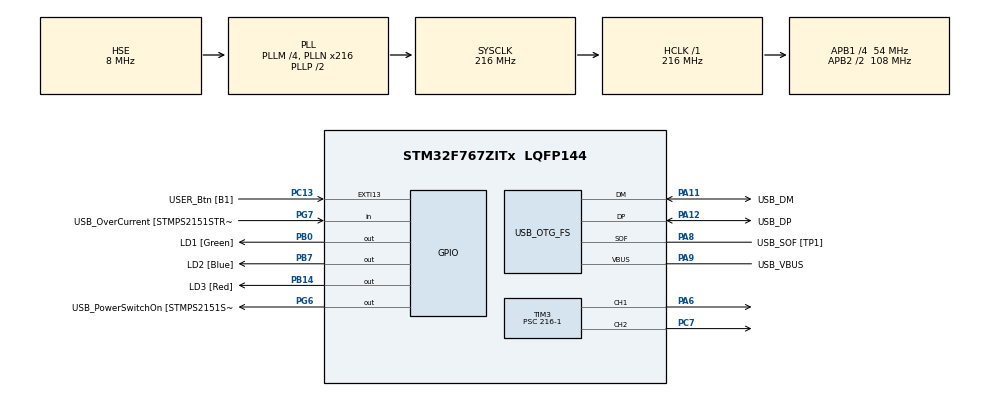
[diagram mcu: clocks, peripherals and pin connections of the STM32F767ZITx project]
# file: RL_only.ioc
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FREERTOS.Tasks01=defaultTask,0,128,StartDefaultTask,Default,NULL,Dynamic,NULL,NULL;taskRLControl,0,256,StartTask02,Default,NULL,Dynamic,NULL,NULL
Mcu.Family=STM32F7
Mcu.Name=STM32F767ZITx
Mcu.Package=LQFP144
NVIC.PriorityGroup=NVIC_PRIORITYGROUP_4
PA1.GPIO_Label=RMII_REF_CLK [LAN8742A-CZ-TR_REFCLK0]
PA1.Signal=ETH_REF_CLK
PA10.GPIO_Label=USB_ID
PA10.Signal=USB_OTG_FS_ID
PA11.GPIO_Label=USB_DM
PA11.Mode=Device_Only
PA11.Signal=USB_OTG_FS_DM
PA12.GPIO_Label=USB_DP
PA12.Mode=Device_Only
PA12.Signal=USB_OTG_FS_DP
PA13.GPIO_Label=TMS
PA13.Mode=Serial_Wire
PA13.Signal=SYS_JTMS-SWDIO
PA14.GPIO_Label=TCK
PA14.Mode=Serial_Wire
PA14.Signal=SYS_JTCK-SWCLK
PA2.GPIO_Label=RMII_MDIO [LAN8742A-CZ-TR_MDIO]
PA2.Signal=ETH_MDIO
PA6.Signal=S_TIM3_CH1
PA7.GPIO_Label=RMII_CRS_DV [LAN8742A-CZ-TR_CRS_DV]
PA7.Signal=ETH_CRS_DV
PA8.GPIO_Label=USB_SOF [TP1]
PA8.Mode=Activate_SOF_FS
PA8.Signal=USB_OTG_FS_SOF
PA9.GPIO_Label=USB_VBUS
PA9.Mode=Activate_VBUS
PA9.Signal=USB_OTG_FS_VBUS
PB0.GPIO_Label=LD1 [Green]
PB0.Signal=GPIO_Output
PB13.GPIO_Label=RMII_TXD1 [LAN8742A-CZ-TR_TXD1]
PB13.Signal=ETH_TXD1
PB14.GPIO_Label=LD3 [Red]
PB14.Signal=GPIO_Output
PB3.GPIO_Label=SWO
PB3.Signal=SYS_JTDO-SWO
PB7.GPIO_Label=LD2 [Blue]
PB7.Signal=GPIO_Output
PC1.GPIO_Label=RMII_MDC [LAN8742A-CZ-TR_MDC]
PC1.Signal=ETH_MDC
PC13.GPIO_Label=USER_Btn [B1]
PC13.Signal=GPXTI13
PC14/OSC32_IN.Mode=LSE-External-Oscillator
PC14/OSC32_IN.Signal=RCC_OSC32_IN
PC15/OSC32_OUT.Mode=LSE-External-Oscillator
PC15/OSC32_OUT.Signal=RCC_OSC32_OUT
PC4.GPIO_Label=RMII_RXD0 [LAN8742A-CZ-TR_RXD0]
PC4.Signal=ETH_RXD0
PC5.GPIO_Label=RMII_RXD1 [LAN8742A-CZ-TR_RXD1]
PC5.Signal=ETH_RXD1
PC7.Signal=S_TIM3_CH2
PD8.GPIO_Label=STLK_RX [STM32F103CBT6_PA3]
PD8.Signal=USART3_TX
PD9.GPIO_Label=STLK_TX [STM32F103CBT6_PA2]
PD9.Signal=USART3_RX
PG11.GPIO_Label=RMII_TX_EN [LAN8742A-CZ-TR_TXEN]
PG11.Signal=ETH_TX_EN
PG13.GPIO_Label=RMII_TXD0 [LAN8742A-CZ-TR_TXD0]
PG13.Signal=ETH_TXD0
PG6.GPIO_Label=USB_PowerSwitchOn [STMPS2151STR_EN]
PG6.Signal=GPIO_Output
PG7.GPIO_Label=USB_OverCurrent [STMPS2151STR_FAULT]
PG7.Signal=GPIO_Input
PH0/OSC_IN.GPIO_Label=MCO [STM32F103CBT6_PA8]
PH0/OSC_IN.Mode=HSE-External-Clock-Source
PH0/OSC_IN.Signal=RCC_OSC_IN
PH1/OSC_OUT.Mode=HSE-External-Clock-Source
PH1/OSC_OUT.Signal=RCC_OSC_OUT
ProjectManager.HeapSize=0x200
ProjectManager.StackSize=0x400
ProjectManager.TargetToolchain=MDK-ARM V5
RCC.48MHZClocksFreq_Value=24000000
RCC.AHBFreq_Value=216000000
RCC.APB1CLKDivider=RCC_HCLK_DIV4
RCC.APB1Freq_Value=54000000
RCC.APB1TimFreq_Value=108000000
RCC.APB2CLKDivider=RCC_HCLK_DIV2
RCC.APB2Freq_Value=108000000
RCC.APB2TimFreq_Value=216000000
RCC.CortexFreq_Value=216000000
RCC.HCLKFreq_Value=216000000
RCC.HSE_VALUE=8000000
RCC.HSI_VALUE=16000000
RCC.PLLM=4
RCC.PLLMUL=RCC_PLL_MUL9
RCC.PLLN=216
RCC.PLLQ=9
RCC.PRESCALERUSB=RCC_USBCLKSOURCE_PLL_DIV1_5
RCC.SYSCLKFreq_VALUE=216000000
RCC.SYSCLKSource=RCC_SYSCLKSOURCE_PLLCLK
RCC.SYSCLKSourceVirtual=RCC_SYSCLKSOURCE_PLLCLK
RCC.USBFreq_Value=48000000
RCC.VCOOutputFreq_Value=432000000
SH.S_TIM3_CH1.0=TIM3_CH1,PWM Generation1 CH1
SH.S_TIM3_CH2.0=TIM3_CH2,PWM Generation2 CH2
TIM3.Channel-PWM\ Generation1\ CH1=TIM_CHANNEL_1
TIM3.Channel-PWM\ Generation2\ CH2=TIM_CHANNEL_2
TIM3.Period=100-1
TIM3.Prescaler=216-1
USB_OTG_FS.VirtualMode=Device_Only
VP_FREERTOS_VS_CMSIS_V1.Mode=CMSIS_V1
VP_TIM3_VS_ClockSourceINT.Mode=Internal
board=NUCLEO-F767ZI

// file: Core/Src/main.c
/* USER CODE BEGIN Header */
/**
  ******************************************************************************
  * @file           : main.c
  * @brief          : Main program body
  ******************************************************************************
  * @attention
  *
  * <h2><center>&copy; Copyright (c) 2020 STMicroelectronics.
  * All rights reserved.</center></h2>
  *
  * This software component is licensed by ST under Ultimate Liberty license
  * SLA0044, the "License"; You may not use this file except in compliance with
  * the License. You may obtain a copy of the License at:
  *                             www.st.com/SLA0044
  *
  ******************************************************************************
  */
/* USER CODE END Header */
#include "main.h"
#include "cmsis_os.h"
#include "tim.h"
#include "usb_otg.h"
#include "gpio.h"

/* USER CODE BEGIN Includes */
#include <math.h>
#include <float.h>
#include <stdbool.h>

/* USER CODE END Includes */

void SystemClock_Config(void);
void MX_FREERTOS_Init(void);
/* USER CODE BEGIN PFP */

double getReward(char b_state, char Action)
{
  const signed int iv[7] = { 100, -1, -2, -5, -5, -2, -1 };

  const signed int iv1[5] = { 2, 1, 0, 1, 2 };

  /* Reward is a function of state and Action */
  return (double)iv[b_state-1] + 0.5*(double)iv1[Action];
}

double rtNaN = (double)NAN;
double rtInf = (double)INFINITY;
double rtMinusInf = -(double)INFINITY;
double rtNaNF = (double)NAN;
double rtInfF = (double)INFINITY;
double rtMinusInfF = -(double)INFINITY;

#if defined(__ICL) && __ICL == 1700

#pragma warning(default: 264)

#endif

/* Function: rtIsInf ==================================================
 * Abstract:
 * Test if value is infinite
 */
bool rtIsInf(double value)
{
  return (isinf(value) != 0U);
}

/* Function: rtIsInfF =================================================
 * Abstract:
 * Test if single-precision value is infinite
 */
bool rtIsInfF(double value)
{
  return (isinf((double)value) != 0U);
}

/* Function: rtIsNaN ==================================================
 * Abstract:
 * Test if value is not a number
 */
bool rtIsNaN(double value)
{
  return (isnan(value) != 0U);
}

/* Function: rtIsNaNF =================================================
 * Abstract:
 * Test if single-precision value is not a number
 */
bool rtIsNaNF(double value)
{
  return (isnan((double)value) != 0U);
}

double rtGetInf(void)
{
  return rtInf;
}

/* Function: rtGetInfF =================================================================
 * Abstract:
 * Initialize rtInfF needed by the generated code.
 */
double rtGetInfF(void)
{
  return rtInfF;
}

/* Function: rtGetMinusInf =============================================================
 * Abstract:
 * Initialize rtMinusInf needed by the generated code.
 */
double rtGetMinusInf(void)
{
  return rtMinusInf;
}

/* Function: rtGetMinusInfF ============================================================
 * Abstract:
 * Initialize rtMinusInfF needed by the generated code.
 */
double rtGetMinusInfF(void)
{
  return rtMinusInfF;
}

double rtGetNaN(void)
{
  return rtNaN;
}

/* Function: rtGetNaNF =====================================================================
 * Abstract:
 * Initialize rtNaNF needed by the generated code.
 * NaN is initialized as non-signaling. Assumes IEEE.
 */
double rtGetNaNF(void)
{
  return rtNaNF;
}

static double rt_remd_snf(double u0, double u1)
{
  double q;
  double y;
  if (rtIsNaN(u0) || rtIsNaN(u1) || rtIsInf(u0)) {
    y = rtNaN;
  } else if (rtIsInf(u1)) {
    y = u0;
  } else if ((u1 != 0.0) && (u1 != trunc(u1))) {
    q = fabs(u0 / u1);
    if (!(fabs(q - floor(q + 0.5)) > DBL_EPSILON * q)) {
      y = 0.0 * u0;
    } else {
      y = fmod(u0, u1);
    }
  } else {
    y = fmod(u0, u1);
  }

  return y;
}

char getState(double ref, double cur)
{
  static const signed char lookup_table[45] = { 5, 5, 5, 5, 5, 0, 0, 0, 0, 6, 6,
    6, 6, 6, 0, 0, 0, 0, 7, 7, 7, 7, 1, 2, 2, 2, 2, 0, 0, 0, 0, 3, 3, 3, 3, 3, 0,
    0, 0, 0, 4, 4, 4, 4, 4 };

  double d;
  char s;

  d = ref - cur;
  if (d >= 15.0) {
    s = 4;
  } else if (cur - ref >= 15.0) {
    s = 5;
  } else {
    /* Get State */
    s = lookup_table[((int)(trunc(rt_remd_snf(d, 5.0)) + 5.0) + 9 * ((int)(trunc
      (d / 5.0) + 3.0) - 1)) - 1];
  }

  return s;
}

void environment(signed char Action, int ref_temp,
                 double *cur_temp, char *b_state, double *rewards)
{
  const signed int iv1[5] = { -2, -1, 0, 1, 2 };

  *cur_temp = (*cur_temp + 0.5 * iv1[Action] );

  /* Determine state and reward */
  *b_state = getState(ref_temp, *cur_temp);

  /* Give reward according to the respective state */
  /* Reward is a function of state and Action */
	*rewards = getReward(*b_state,Action);
}

int best_action(int m, int n, double arr[7][5], int cs)
{

    // Initialize maximum element
    double max = arr[cs-1][0];
		int choosen_action = 0;

    // Traverse array elements from second and
    // compare every element with current max
    for (int i = 0; i < n; i++)
        if (arr[cs-1][i] > max)
				{
					max = arr[cs-1][i];
					choosen_action = i;
				}
    return choosen_action;
}

/* USER CODE END PFP */

int main(void)
{

  /* MCU Configuration--------------------------------------------------------*/

  /* Reset of all peripherals, Initializes the Flash interface and the Systick. */
  HAL_Init();

  /* Configure the system clock */
  SystemClock_Config();

  /* Initialize all configured peripherals */
  MX_GPIO_Init();
  MX_USB_OTG_FS_PCD_Init();
  MX_TIM3_Init();
  /* USER CODE BEGIN 2 */

	//PWM
	HAL_TIM_PWM_Start(&htim3, TIM_CHANNEL_1);
	HAL_TIM_PWM_Start(&htim3, TIM_CHANNEL_2);
	//uint8_t  duty =100;

	//Initialize Qtable
	int N_states = 7;
	int N_actions = 5;

		double Q_table[7][5] = {
	 {12.8684,   44.2582,  200.0000,   51.7647,   52.2693},
   {10.4893,   15.9640,   11.6202,   59.3819,  131.5921},
	 {-3.5485,   -4.4212,    0.6732,   -4.4901,   36.4415},
   {-0.5118,   -1.9012,   -0.2872,    0.7894,    0.1470},
   {1.4994,  -9.5072,   -9.3773,   -9.2471,   -9.4757},
   {-2.6484,   20.5034,   -1.4582,   -1.5423,   -3.4611},
   {124.7742,   15.4848,   19.2549,    8.5964,   18.2362}
	 };

	//Initial Parameters
	char Action = 2;
	double Disc_factor = 0.5;
	char cs, ns;
  double r;
	double max_q = 0;
  int ref_temp = 27;
	double initial_cur_temp = 20;
	double *actual_temp = &initial_cur_temp;
	double Learn_rate = 0.3;
	int it=0;
	//Initialize S
	environment(Action, ref_temp, actual_temp, &cs, &r);

  /* USER CODE END 2 */

  /* Call init function for freertos objects (in freertos.c) */
  //MX_FREERTOS_Init();
  /* Start scheduler */
  //osKernelStart();

  /* We should never get here as control is now taken by the scheduler */
  /* Infinite loop */
  /* USER CODE BEGIN WHILE */
	htim3.Instance->CCR2 = 10;
	//int prob;
  while (1)
  {
		ref_temp = 27;
		initial_cur_temp = 16;
		ns = getState(ref_temp, *actual_temp);
		cs = ns;
		while(ns != 1)
		{
		//Action = best_action(N_states, N_actions, Q_table, cs);
	  Action = best_action(N_states, N_actions, Q_table, ns);

		/* Take Action A, observe R, S' */
		environment(Action, ref_temp, actual_temp, &ns, &r);
		//htim3.Instance->CCR1 = (100/(N_actions-1))*Action;

		/* Determine max Q value of given Action and next state */
		//max_q = Q_table[ns][best_action(N_states, N_actions, Q_table, ns)];

		/*Update Q value from current state and Action */
		//Q_table[cs][Action] = (1-Learn_rate)*Q_table[cs][Action] + Learn_rate*(/*getReward(cs, Action)*/r + Disc_factor*max_q);

		/*S <- S'*/
		//cs = ns;

		it = it+1;
		}
		it = 0;
		HAL_GPIO_TogglePin(GPIOB, GPIO_PIN_7);
		//htim3.Instance->CCR2 = 100;

    /* USER CODE END WHILE */

  }
}

void SystemClock_Config(void)
{
  RCC_OscInitTypeDef RCC_OscInitStruct = {0};
  RCC_ClkInitTypeDef RCC_ClkInitStruct = {0};
  RCC_PeriphCLKInitTypeDef PeriphClkInitStruct = {0};

  /** Configure LSE Drive Capability
  */
  HAL_PWR_EnableBkUpAccess();
  /** Configure the main internal regulator output voltage
  */
  __HAL_RCC_PWR_CLK_ENABLE();
  __HAL_PWR_VOLTAGESCALING_CONFIG(PWR_REGULATOR_VOLTAGE_SCALE1);
  /** Initializes the RCC Oscillators according to the specified parameters
  * in the RCC_OscInitTypeDef structure.
  */
  RCC_OscInitStruct.OscillatorType = RCC_OSCILLATORTYPE_HSE;
  RCC_OscInitStruct.HSEState = RCC_HSE_BYPASS;
  RCC_OscInitStruct.PLL.PLLState = RCC_PLL_ON;
  RCC_OscInitStruct.PLL.PLLSource = RCC_PLLSOURCE_HSE;
  RCC_OscInitStruct.PLL.PLLM = 4;
  RCC_OscInitStruct.PLL.PLLN = 216;
  RCC_OscInitStruct.PLL.PLLP = RCC_PLLP_DIV2;
  RCC_OscInitStruct.PLL.PLLQ = 9;
  if (HAL_RCC_OscConfig(&RCC_OscInitStruct) != HAL_OK)
  {
    Error_Handler();
  }
  /** Activate the Over-Drive mode
  */
  if (HAL_PWREx_EnableOverDrive() != HAL_OK)
  {
    Error_Handler();
  }
  /** Initializes the CPU, AHB and APB buses clocks
  */
  RCC_ClkInitStruct.ClockType = RCC_CLOCKTYPE_HCLK|RCC_CLOCKTYPE_SYSCLK
                              |RCC_CLOCKTYPE_PCLK1|RCC_CLOCKTYPE_PCLK2;
  RCC_ClkInitStruct.SYSCLKSource = RCC_SYSCLKSOURCE_PLLCLK;
  RCC_ClkInitStruct.AHBCLKDivider = RCC_SYSCLK_DIV1;
  RCC_ClkInitStruct.APB1CLKDivider = RCC_HCLK_DIV4;
  RCC_ClkInitStruct.APB2CLKDivider = RCC_HCLK_DIV2;

  if (HAL_RCC_ClockConfig(&RCC_ClkInitStruct, FLASH_LATENCY_7) != HAL_OK)
  {
    Error_Handler();
  }
  PeriphClkInitStruct.PeriphClockSelection = RCC_PERIPHCLK_CLK48;
  PeriphClkInitStruct.Clk48ClockSelection = RCC_CLK48SOURCE_PLL;
  if (HAL_RCCEx_PeriphCLKConfig(&PeriphClkInitStruct) != HAL_OK)
  {
    Error_Handler();
  }
}

void Error_Handler(void)
{
  __disable_irq();
  while (1)
  {
  }
}

/************************ (C) COPYRIGHT STMicroelectronics *****END OF FILE****/
